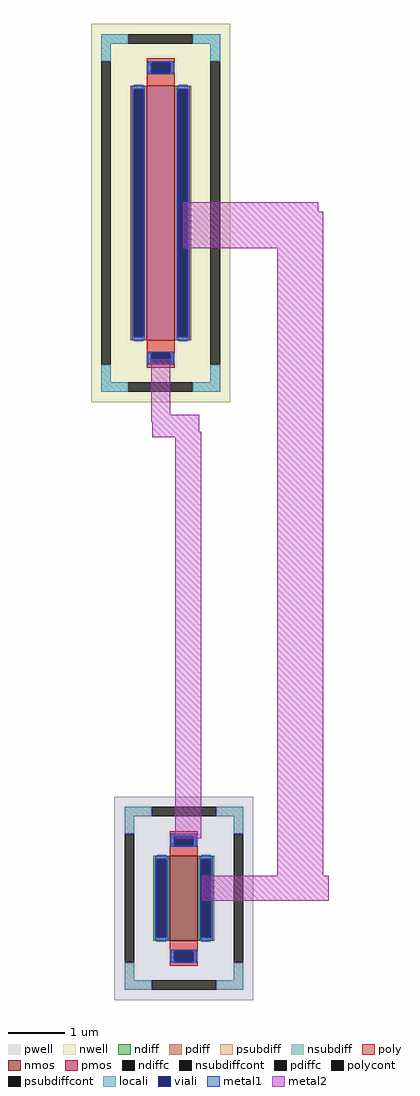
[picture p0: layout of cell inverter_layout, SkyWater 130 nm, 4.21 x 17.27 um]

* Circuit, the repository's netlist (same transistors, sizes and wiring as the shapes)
* NGSPICE file created from inverter_layout.ext - technology: sky130A

.subckt sky130_fd_pr__pfet_01v8_TMZ9Y6
X0 a_50_n450# a_n50_n547# a_n108_n450# w_n246_n669# sky130_fd_pr__pfet_01v8 ad=1.3 pd=9.58 as=1.3 ps=9.58 w=4.5 l=0.5
.ends

.subckt sky130_fd_pr__nfet_01v8_CBEAYX a_n210_n324#
X0 a_50_n150# a_n50_n238# a_n108_n150# a_n210_n324# sky130_fd_pr__nfet_01v8 ad=0.435 pd=3.58 as=0.435 ps=3.58 w=1.5 l=0.5
.ends


* Top level circuit inverter_layout

Xsky130_fd_pr__pfet_01v8_TMZ9Y6_0 sky130_fd_pr__pfet_01v8_TMZ9Y6
Xsky130_fd_pr__nfet_01v8_CBEAYX_0 VSUBS sky130_fd_pr__nfet_01v8_CBEAYX
.end

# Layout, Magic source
magic
tech sky130A
magscale 1 2
<< metal2 >>
rect -518 2678 -40 2712
rect -518 2550 -22 2678
rect -630 1960 -564 2156
rect -630 1936 -460 1960
rect -626 1900 -460 1936
rect -626 1880 -454 1900
rect -546 462 -454 1880
rect -184 328 -22 2550
rect -450 240 -2 328
use sky130_fd_pr__nfet_01v8_CBEAYX  sky130_fd_pr__nfet_01v8_CBEAYX_0
transform 1 0 -515 0 1 249
box -246 -360 246 360
use sky130_fd_pr__pfet_01v8_TMZ9Y6  sky130_fd_pr__pfet_01v8_TMZ9Y6_0
transform 1 0 -597 0 1 2674
box -246 -669 246 669
<< end >>

# cell sky130_fd_pr__nfet_01v8_CBEAYX: kit device sky130_fd_pr__nfet_01v8, w 1.50 l 0.50 m 1 nf 1 diffcov 100 polycov 100 guard 1 glc 1 grc 1 gtc 1 gbc 1 tbcov 100 rlcov 100 topc 1 botc 1 poverlap 0 doverlap 1 lmin 0.15 wmin 0.42 compatible {sky130_fd_pr__nfet_01v8 sky130_fd_pr__nfet_01v8_lvt sky130_fd_bs_flash__special_sonosfet_star sky130_fd_pr__nfet_g5v0d10v5 sky130_fd_pr__nfet_05v0_nvt sky130_fd_pr__nfet_03v3_nvt} full_metal 1 viasrc 100 viadrn 100 viagate 100 viagb 0 viagr 0 viagl 0 viagt 0

# cell sky130_fd_pr__pfet_01v8_TMZ9Y6: kit device sky130_fd_pr__pfet_01v8, w 4.5 l 0.5 m 1 nf 1 diffcov 100 polycov 100 guard 1 glc 1 grc 1 gtc 1 gbc 1 tbcov 100 rlcov 100 topc 1 botc 1 poverlap 0 doverlap 1 lmin 0.15 wmin 0.42 compatible {sky130_fd_pr__pfet_01v8 sky130_fd_pr__pfet_01v8_lvt sky130_fd_pr__pfet_01v8_hvt sky130_fd_pr__pfet_g5v0d10v5} full_metal 1 viasrc 100 viadrn 100 viagate 100 viagb 0 viagr 0 viagl 0 viagt 0
